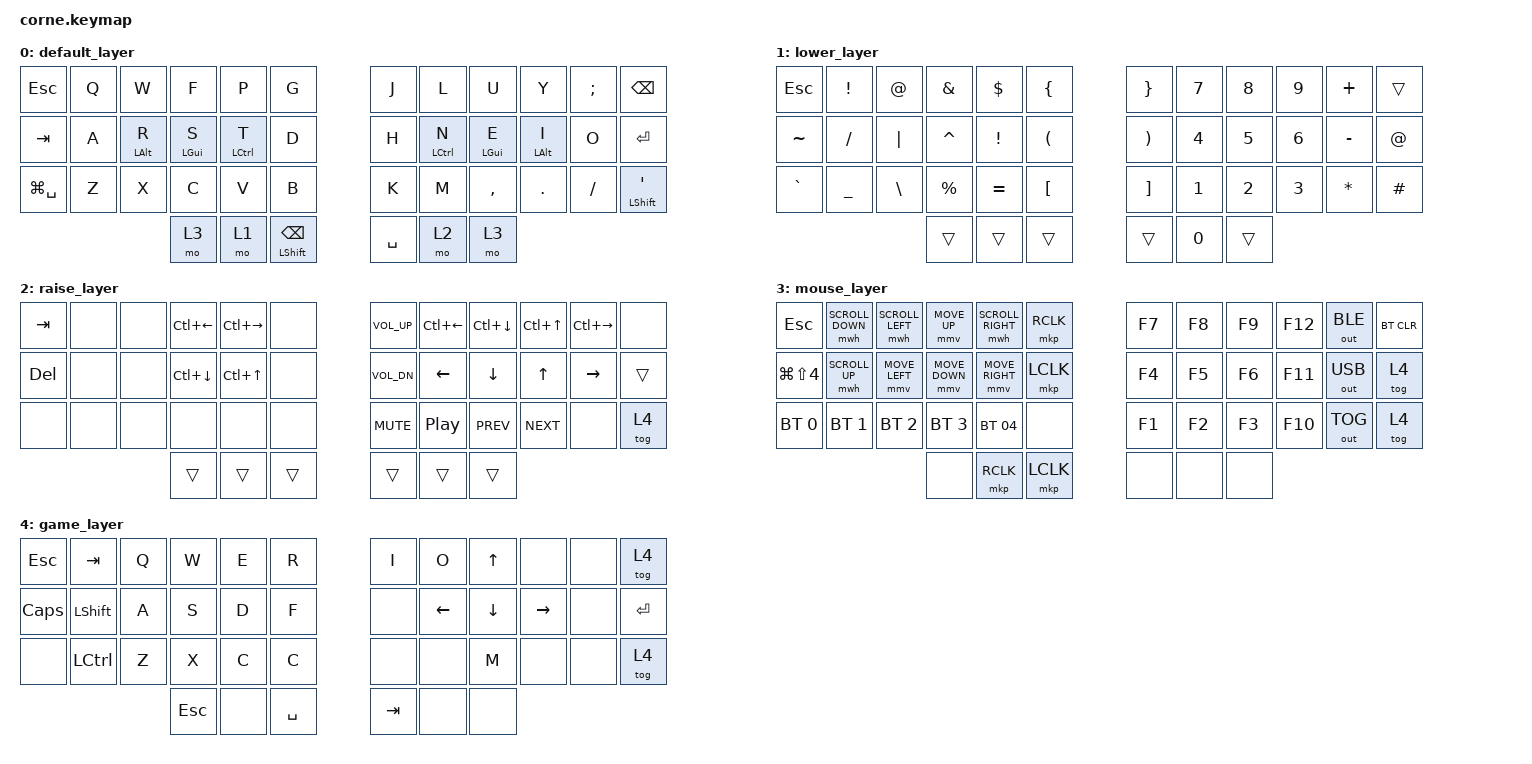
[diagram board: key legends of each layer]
/*
  * Copyright (c) 2020 The ZMK Contributors
  *
  * SPDX-License-Identifier: MIT
  */

 #include <behaviors.dtsi>
 #include <dt-bindings/zmk/keys.h>
 #include <dt-bindings/zmk/bt.h>
 #include <dt-bindings/zmk/mouse.h>
 #include <dt-bindings/zmk/outputs.h>
 
 &mt {
    flavor = "tap-preferred";
    tapping_term_ms = <200>;
};



 / {
         keymap {
                 compatible = "zmk,keymap";

                 default_layer {
 // -----------------------------------------------------------------------------------------
 // |  ESC |  Q  |  W    |  F    |  P      |  G  |   |  J  |  L      |  U    |  Y    |  ;  | BKSP    |
 // |  TAB |  A  | ALT R | GUI S |  CTRL T |  D  |   |  H  | CTRL  N | GUI E | ALT I |  O  | ENT     |
 // | GUI_ |  Z  |  X    |  C    |  V      |  B  |   |  N  |  M      |  ,    |  .    |  /  | SHFT "  |
 //              | layer3 | layer1 | SHFT/BACKSP |   | SPC | layer 2  | layer 3 |
                         bindings = <
   &kp ESC     &kp Q &kp W       &kp F      &kp P       &kp G               &kp J   &kp L        &kp U      &kp Y        &kp SEMI &kp BSPC
   &kp TAB     &kp A &mt LALT R  &mt LGUI S &mt LCTRL T &kp D               &kp H   &mt LCTRL N  &mt LGUI E &mt LALT I   &kp O    &kp RET
   &kp LG(SPC) &kp Z &kp X       &kp C      &kp V       &kp B               &kp K   &kp M        &kp COMMA  &kp DOT      &kp FSLH &mt LSHIFT SINGLE_QUOTE
                                 &mo 3      &mo 1    &mt LSHIFT BKSP     &kp SPC &mo 2        &mo 3
                        >;
                 };
                 lower_layer {
// -----------------------------------------------------------------------------------------
// |  ESC |  !  |  @  |  &  |  $  |  {  |   |  }  |  7  |  8  |  9  |  +  |     |
// |   ~  |  /  |  |  |  ^  |  !  |  (  |   |  )  |  4  |  5  |  6  |  -  |  @  |
// |   `  |  _  |  \  |  %  |  =  |  [  |   |  ]  |  1  |  2  |  3  |  *  |  #  |
//                    |     |     |     |   |     |  0  |     |
                        bindings = <
   &kp ESC    &kp EXCL       &kp AT   &kp AMPERSAND &kp DLLR  &kp LBRC       &kp RBRC &kp N7 &kp N8 &kp N9 &kp PLUS  &trans
   &kp TILDE  &kp SLASH      &kp PIPE &kp CARET     &kp EXCL  &kp LPAR       &kp RPAR &kp N4 &kp N5 &kp N6 &kp MINUS &kp AT
   &kp GRAVE  &kp UNDERSCORE &kp BSLH &kp PERCENT   &kp EQUAL &kp LBKT       &kp RBKT &kp N1 &kp N2 &kp N3 &kp ASTRK &kp POUND
                          	          &trans     &trans       &trans         &trans   &kp N0   &trans
                         >;
                 };

                 raise_layer {
 // -----------------------------------------------------------------------------------------
// | TAB | XXX | XXX | CRTL + <- | CRTL + -> | XXX |   | VOL up   | CTRL LEFT  | CTRL DOWN | CTRL UP | CTRL RIGHT | XXX      |
// | DEL | XXX | XXX | CRTL + v  | CRTL + ^  | XXX |   | Vol down | LEFT       | DOWN      | UP      | RIGHT      |          |
// | XXX | XXX | XXX |  X        |  X        | XXX |   | Mut      | Play/Pause | BACK      | FORWARD | XXX        | TOGGLE 4 | 
//                   |           |           |     |   |          |            |           |
                        bindings = <
   &kp TAB &none &none &kp LC(LEFT) &kp LC(RIGHT) &none      &kp C_VOL_UP &kp LC(LEFT)     &kp LC(DOWN) &kp LC(UP) &kp LC(RIGHT) &none
   &kp DEL &none &none &kp LC(DOWN) &kp LC(UP)    &none      &kp C_VOL_DN &kp LEFT         &kp DOWN     &kp UP     &kp RIGHT     &trans
   &none   &none &none &none        &none         &none      &kp C_MUTE   &kp C_PLAY_PAUSE &kp C_PREV   &kp C_NEXT &none         &tog 4
                       &trans       &trans        &trans     &trans       &trans           &trans
                         >;
                 };
				
				mouse_layer {
// -----------------------------------------------------------------------------------------
// |  ESC           | Wheel up   | Wheel Left | Mouse Up    |  Wheel right | Left click   |     |  F7  |  F8 | F9 | F12 | &out OUT_BLE | BT CLR    |
// |  Screenshot    | Wheel down | Mouse Left | Mouse Down  |  Mouse Right | Right click  |     |  F4  |  F5 | F6 | F11 | &out OUT_USB | TOGGLE 4  |
// |  BT1           | BT2        | BT3        |  BT4        |  BT5         |  XXX         |     |  F1  |  F2 | F3 | F10 | &out OUT_TOG | TOGGLE 4  |
//                              |             | Right click  |  Left click |              |     |      |    |
                        bindings = <
   &kp ESC        &mwh SCROLL_DOWN &mwh SCROLL_LEFT      &mmv MOVE_UP   &mwh SCROLL_RIGHT &mkp RCLK        &kp F7 &kp F8  &kp F9 &kp F12 &out OUT_BLE &bt BT_CLR
   &kp LG(LS(N4)) &mwh SCROLL_UP   &mmv MOVE_LEFT        &mmv MOVE_DOWN &mmv MOVE_RIGHT   &mkp LCLK        &kp F4 &kp F5  &kp F6 &kp F11 &out OUT_USB &tog 4
   &bt BT_SEL 0   &bt BT_SEL 1     &bt BT_SEL 2          &bt BT_SEL 3   &bt BT_SEL 04     &none            &kp F1 &kp F2  &kp F3 &kp F10 &out OUT_TOG &tog 4
                                                         &none          &mkp RCLK         &mkp LCLK        &none  &none   &none
						>;
				};
                game_layer {
// -----------------------------------------------------------------------------------------
// |  ESC  | TAB  |  Q  |  W  |  E  |  R  |   |  I  |  O     |  UP     |  X     |  X  | TOGGLE 4 |
// |  CAPS | SHFT |  A  |  S  |  D  |  F  |   |  X  |  LEFT  |  DOWN   |  RIGHT |  X  | ENT      |
// |  XXX  | CTRL |  Z  |  X  |  C  |  C  |   |  X  |  X     |  M      |  X     |  X  | TOGGLE 4 |
//                      | ESC |  X  |  _  |   | TAB |  X     |  X      |
                        bindings = <
   &kp ESC   &kp TAB   &kp Q &kp W &kp E &kp R      &kp I &kp O    &kp UP   &none     &none   &tog 4
   &kp CAPS  &kp LSHFT &kp A &kp S &kp D &kp F      &none &kp LEFT &kp DOWN &kp RIGHT &none   &kp RET
   &none     &kp LCTRL &kp Z &kp X &kp C &kp C      &none &none    &kp M    &none     &none   &tog 4
                            &kp ESC &none &kp SPC   &kp TAB   &none   &none
                        >;
				};
         };
 };
